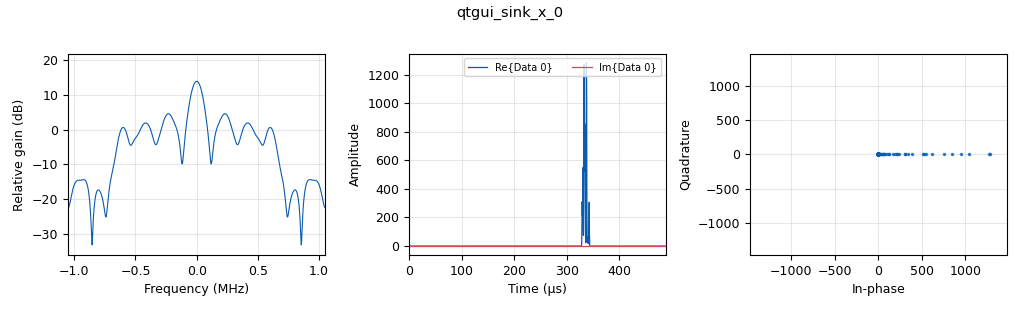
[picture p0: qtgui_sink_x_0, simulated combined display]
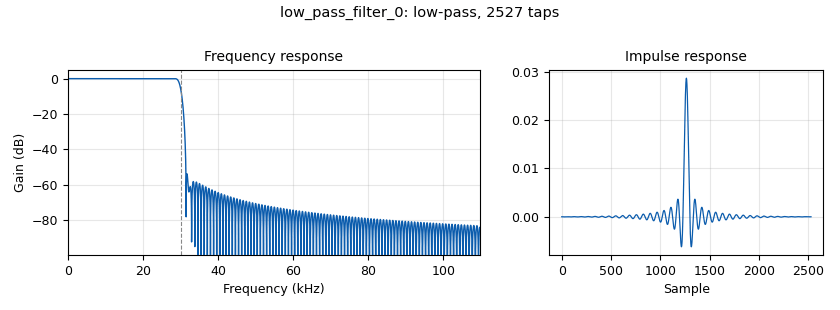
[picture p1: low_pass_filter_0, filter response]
<?xml version='1.0' encoding='utf-8'?>
<?grc format='1' created='3.7.10'?>
<flow_graph>
<block>
<key>options</key>
<param><key>id</key><value>Decimation_Model</value></param>
<param><key>author</key><value>Peter F Bradshaw</value></param>
<param><key>description</key><value>A model which requires decimation to get resolution</value></param>
<param><key>generate_options</key><value>qt_gui</value></param>
<param><key>title</key><value>Decimation Model</value></param>
</block>
<block>
<key>variable</key>
<param><key>id</key><value>input_samp_rate</value></param>
<param><key>value</key><value>2097152</value></param>
</block>
<block>
<key>analog_noise_source_x</key>
<param><key>id</key><value>analog_noise_source_x_0</value></param>
<param><key>amp</key><value>1</value></param>
<param><key>noise_type</key><value>analog.GR_GAUSSIAN</value></param>
<param><key>type</key><value>float</value></param>
<param><key>seed</key><value>0</value></param>
</block>
<block>
<key>blocks_add_xx</key>
<param><key>id</key><value>blocks_add_xx_0</value></param>
<param><key>type</key><value>float</value></param>
</block>
<block>
<key>blocks_delay</key>
<param><key>id</key><value>blocks_delay_0</value></param>
<param><key>delay</key><value>512</value></param>
<param><key>type</key><value>float</value></param>
</block>
<block>
<key>blocks_multiply_conjugate_cc</key>
<param><key>id</key><value>blocks_multiply_conjugate_cc_0</value></param>
<param><key>vlen</key><value>1024</value></param>
</block>
<block>
<key>blocks_multiply_const_vxx</key>
<param><key>id</key><value>blocks_multiply_const_vxx_0</value></param>
<param><key>const</key><value>0.000015259</value></param>
<param><key>type</key><value>float</value></param>
</block>
<block>
<key>blocks_stream_to_vector</key>
<param><key>id</key><value>blocks_stream_to_vector_0</value></param>
<param><key>type</key><value>float</value></param>
<param><key>num_items</key><value>1024</value></param>
</block>
<block>
<key>blocks_throttle</key>
<param><key>id</key><value>blocks_throttle_0</value></param>
<param><key>samples_per_second</key><value>input_samp_rate</value></param>
<param><key>type</key><value>float</value></param>
</block>
<block>
<key>blocks_vector_to_stream</key>
<param><key>id</key><value>blocks_vector_to_stream_0</value></param>
<param><key>type</key><value>complex</value></param>
<param><key>num_items</key><value>1024</value></param>
</block>
<block>
<key>fft_vxx</key>
<param><key>id</key><value>fft_vxx_0</value></param>
<param><key>fft_size</key><value>1024</value></param>
<param><key>forward</key><value>False</value></param>
<param><key>type</key><value>float</value></param>
<param><key>shift</key><value>True</value></param>
<param><key>window</key><value>window.blackmanharris(1024)</value></param>
</block>
<block>
<key>low_pass_filter</key>
<param><key>id</key><value>low_pass_filter_0</value></param>
<param><key>cutoff_freq</key><value>30000</value></param>
<param><key>decim</key><value>1</value></param>
<param><key>type</key><value>fir_filter_fff</value></param>
<param><key>gain</key><value>1</value></param>
<param><key>samp_rate</key><value>input_samp_rate</value></param>
<param><key>width</key><value>2000</value></param>
<param><key>win</key><value>firdes.WIN_HAMMING</value></param>
</block>
<block>
<key>qtgui_sink_x</key>
<param><key>id</key><value>qtgui_sink_x_0</value></param>
<param><key>bw</key><value>input_samp_rate</value></param>
<param><key>fc</key><value>0</value></param>
<param><key>freqchangevar</key><value>None</value></param>
<param><key>fftsize</key><value>1024</value></param>
<param><key>showports</key><value>True</value></param>
<param><key>type</key><value>complex</value></param>
<param><key>wintype</key><value>firdes.WIN_BLACKMAN_hARRIS</value></param>
</block>
<connection><source_block_id>analog_noise_source_x_0</source_block_id><sink_block_id>blocks_throttle_0</sink_block_id><source_key>0</source_key><sink_key>0</sink_key></connection>
<connection><source_block_id>blocks_add_xx_0</source_block_id><sink_block_id>low_pass_filter_0</sink_block_id><source_key>0</source_key><sink_key>0</sink_key></connection>
<connection><source_block_id>blocks_delay_0</source_block_id><sink_block_id>blocks_add_xx_0</sink_block_id><source_key>0</source_key><sink_key>0</sink_key></connection>
<connection><source_block_id>blocks_multiply_conjugate_cc_0</source_block_id><sink_block_id>blocks_vector_to_stream_0</sink_block_id><source_key>0</source_key><sink_key>0</sink_key></connection>
<connection><source_block_id>blocks_multiply_const_vxx_0</source_block_id><sink_block_id>blocks_delay_0</sink_block_id><source_key>0</source_key><sink_key>0</sink_key></connection>
<connection><source_block_id>blocks_stream_to_vector_0</source_block_id><sink_block_id>fft_vxx_0</sink_block_id><source_key>0</source_key><sink_key>0</sink_key></connection>
<connection><source_block_id>blocks_throttle_0</source_block_id><sink_block_id>blocks_add_xx_0</sink_block_id><source_key>0</source_key><sink_key>1</sink_key></connection>
<connection><source_block_id>blocks_throttle_0</source_block_id><sink_block_id>blocks_multiply_const_vxx_0</sink_block_id><source_key>0</source_key><sink_key>0</sink_key></connection>
<connection><source_block_id>blocks_vector_to_stream_0</source_block_id><sink_block_id>qtgui_sink_x_0</sink_block_id><source_key>0</source_key><sink_key>0</sink_key></connection>
<connection><source_block_id>fft_vxx_0</source_block_id><sink_block_id>blocks_multiply_conjugate_cc_0</sink_block_id><source_key>0</source_key><sink_key>0</sink_key></connection>
<connection><source_block_id>fft_vxx_0</source_block_id><sink_block_id>blocks_multiply_conjugate_cc_0</sink_block_id><source_key>0</source_key><sink_key>1</sink_key></connection>
<connection><source_block_id>low_pass_filter_0</source_block_id><sink_block_id>blocks_stream_to_vector_0</sink_block_id><source_key>0</source_key><sink_key>0</sink_key></connection>
</flow_graph>
